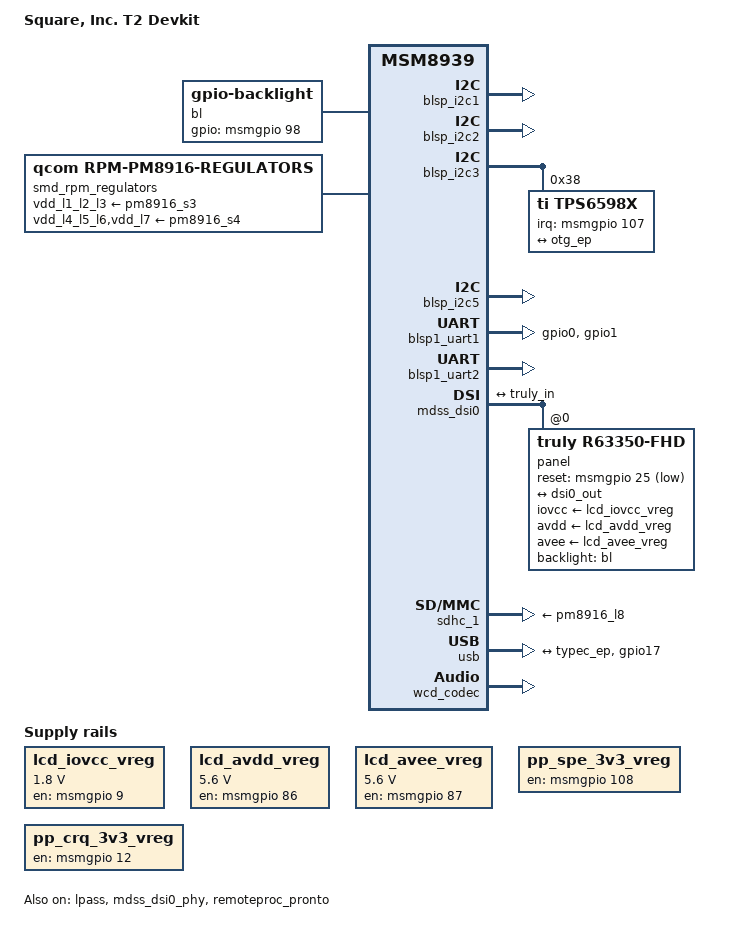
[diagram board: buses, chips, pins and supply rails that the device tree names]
// SPDX-License-Identifier: GPL-2.0
/*
 * Copyright (c) 2015, The Linux Foundation. All rights reserved.
 * Copyright (c) 2022, Linaro Ltd.
 *
 */

/dts-v1/;

#include "msm8939.dtsi"
#include "pm8916.dtsi"
#include <dt-bindings/gpio/gpio.h>
#include <dt-bindings/pinctrl/qcom,pmic-gpio.h>
#include <dt-bindings/sound/apq8016-lpass.h>

/ {
	model = "Square, Inc. T2 Devkit";
	compatible = "square,apq8039-t2", "qcom,msm8939";
	qcom,board-id = <0x53 0x54>;

	aliases {
		serial0 = &blsp1_uart1;
		serial1 = &blsp1_uart2;
	};

	bl: backlight {
		compatible = "gpio-backlight";
		pinctrl-names = "default";
		pinctrl-0 = <&pinctrl_backlight>;
		gpios = <&msmgpio 98 GPIO_ACTIVE_HIGH>;
	};

	chosen {
		stdout-path = "serial1:115200n8";
	};

	lcd_iovcc_vreg: lcd-iovcc-regulator {
		compatible = "regulator-fixed";
		regulator-name = "lcd_iovcc";
		regulator-min-microvolt = <1800000>;
		regulator-max-microvolt = <1800000>;
		pinctrl-names = "default";
		pinctrl-0 = <&pinctrl_lcd_iovcc>;
		gpios = <&msmgpio 9 GPIO_ACTIVE_HIGH>;
		startup-delay-us = <300>;
		enable-active-high;
	};

	lcd_avdd_vreg: lcd-avdd-regulator {
		compatible = "regulator-fixed";
		regulator-name = "lcd_avdd";
		regulator-min-microvolt = <5600000>;
		regulator-max-microvolt = <5600000>;
		pinctrl-names = "default";
		pinctrl-0 = <&pinctrl_lcd_avdd>;
		gpios = <&msmgpio 86 GPIO_ACTIVE_HIGH>;
		startup-delay-us = <300>;
		enable-active-high;
	};

	lcd_avee_vreg: lcd-avee-regulator {
		compatible = "regulator-fixed";
		regulator-name = "lcd_avee";
		regulator-min-microvolt = <5600000>;
		regulator-max-microvolt = <5600000>;
		pinctrl-names = "default";
		pinctrl-0 = <&pinctrl_lcd_avee>;
		gpios = <&msmgpio 87 GPIO_ACTIVE_HIGH>;
		startup-delay-us = <300>;
		enable-active-high;
	};

	pp_spe_3v3_vreg: pp-spe-3v3-regulator {
		compatible = "regulator-fixed";
		pinctrl-names = "default";
		pinctrl-0 = <&msmgpio_spe_reg>;
		regulator-name = "pp_spe_3v3";
		gpios = <&msmgpio 108 GPIO_ACTIVE_HIGH>;
		startup-delay-us = <0>;
		enable-active-high;
	};

	pp_crq_3v3_vreg: pp-crq-3v3-regulator {
		compatible = "regulator-fixed";
		pinctrl-names = "default";
		pinctrl-0 = <&msmgpio_crq_reg>;
		regulator-name = "pp_crq_3v3";
		gpios = <&msmgpio 12 GPIO_ACTIVE_HIGH>;
		startup-delay-us = <0>;
		enable-active-high;
	};
};

&blsp_dma {
	status = "okay";
};

&blsp_i2c1 {
	status = "okay";
};

&blsp_i2c2 {
	status = "okay";
};

&blsp_i2c3 {
	status = "okay";
	tps6598x: tps6598x@38 {
		compatible = "ti,tps6598x";
		reg = <0x38>;

		interrupt-parent = <&msmgpio>;
		interrupts = <107 IRQ_TYPE_LEVEL_LOW>;
		interrupt-names = "irq";

		pinctrl-names = "default";
		pinctrl-0 = <&typec_pins>;

		typec_con: connector {
			compatible = "usb-c-connector";
			label = "USB-C";
			port {
				typec_ep: endpoint {
					remote-endpoint = <&otg_ep>;
				};
			};
		};
	};
};

&blsp_i2c5 {
	status = "okay";
};

&blsp1_uart1 {
	pinctrl-names = "default", "sleep";
	pinctrl-0 = <&blsp1_uart1_default>;
	pinctrl-1 = <&blsp1_uart1_sleep>;
	status = "okay";
};

&blsp1_uart2 {
	pinctrl-names = "default", "sleep";
	pinctrl-0 = <&blsp1_uart2_default>;
	pinctrl-1 = <&blsp1_uart2_sleep>;
	status = "okay";
};

&lpass {
	status = "okay";
};

&mdss_dsi0 {
	#address-cells = <1>;
	#size-cells = <0>;
	vdda-supply = <&pm8916_l2>;
	vddio-supply = <&pm8916_l6>;
	status = "okay";

	ports {
		port@1 {
			endpoint {
				remote-endpoint = <&truly_in>;
				data-lanes = <0 1 2 3>;
			};
		};
	};

	panel@0 {
		compatible = "truly,r63350-fhd";
		reg = <0>;
		pinctrl-names = "default";
		pinctrl-0 = <&pinctrl_panel>;
		iovcc-supply = <&lcd_iovcc_vreg>;
		avdd-supply = <&lcd_avdd_vreg>;
		avee-supply = <&lcd_avee_vreg>;
		reset-gpios = <&msmgpio 25 GPIO_ACTIVE_LOW>;
		backlight = <&bl>;

		ports {
			#address-cells = <1>;
			#size-cells = <0>;

			port@0 {
				reg = <0>;
				truly_in: endpoint {
					remote-endpoint = <&dsi0_out>;
				};
			};
		};
	};
};

&mdss_dsi0_phy {
	vddio-supply = <&pm8916_l6>;
	status = "okay";
};

/*
 * Line names are taken from the schematic of T2, Ver X03.
 * July 14, 2018. Page 4 in particular.
 */

&msmgpio {
	gpio-line-names =
		"APQ_UART1_TX",		/* GPIO_0 */
		"APQ_UART1_RX",
		"APQ_I2C1_SDA",
		"APQ_I2C1_SCL",
		"APQ_UART2_TX_1V8",
		"APQ_UART2_RX_1V8",
		"APQ_I2C2_SDA",
		"APQ_I2C2_SCL",
		"NC",
		"APQ_LCD_IOVCC_EN",
		"APQ_I2C3_SDA",		/* GPIO_10 */
		"APQ_I2C3_SCL",
		"TOUCH_RST_1V8_L",
		"NC",
		"APQ_I2C4_SDA",
		"APQ_I2C4_SCL",
		"APQ_ID5",
		"USB_DISCONNECT",
		"APQ_I2C5_SDA",
		"APQ_I2C5_SCL",
		"APQ_USBC_SPI_MOSI",	/* GPIO_20 */
		"APQ_USBC_SPI_MISO",
		"APQ_USBC_SPI_SS_L",
		"APQ_USBC_SPI_CLK",
		"APQ_LCD_TE0",
		"APQ_LCD_RST_L",
		"NC",
		"NC",
		"ACCELEROMETER_INT1",
		"APQ_CAM_I2C0_SDA",
		"APQ_CAM_I2C0_SCL",	/* GPIO_30 */
		"ACCELEROMETER_INT2",
		"NC",
		"NC",
		"NC",
		"APQ_K21_RST_1V8_L",
		"NC",
		"APQ_EDL_1V8",
		"TP145",
		"BT_SSBI",
		"NC",			/* GPIO_40 */
		"NC",
		"NC",
		"NC",
		"NC",
		"NC",
		"NC",
		"BT_CTRL",
		"BT_DAT",
		"PWR_GPIO_IN",
		"PWR_GPIO_OUT",		/* GPIO_50 */
		"CARD_DET_MLB_L",
		"HALL_SENSOR",
		"TP63",
		"TP64",
		"TP65",
		"NC",
		"NC",
		"NC",
		"NC",
		"NC",			/* GPIO_60 */
		"NC",
		"APQ_K21_GPIO0_1V8",
		"CDC_PDM_CLK",
		"CDC_PDM_SYNC",
		"CDC_PDM_TX",
		"CDC_PDM_RX0",
		"CDC_PDM_RX1",
		"CDC_PDM_RX2",
		"APQ_K21_GPIO1_1V8",
		"NC",			/* GPIO_70 */
		"APQ_HUB_SEL_1V8",
		"APQ_K21_GPIO2_1V8",
		"APQ_K21_GPIO3_1V8",
		"APQ_ID0",
		"APQ_ID1",
		"APQ_ID2",
		"APQ_ID3",
		"APQ_ID4",
		"APQ_HUB_SUSP_IND",
		"BOOT_CONFIG_0",	/* GPIO_80 */
		"BOOT_CONFIG_1",
		"BOOT_CONFIG_2",
		"BOOT_CONFIG_3",
		"NC",
		"NC",
		"APQ_LCD_AVDD_EN",
		"APQ_LCD_AVEE_EN",
		"TP70",
		"NC",
		"APQ_DEBUG0",		/* GPIO_90 */
		"APQ_DEBUG1",
		"APQ_DEBUG2",
		"APQ_DEBUG3",
		"TP165",
		"NC",
		"APQ_LNA_PWR_EN",
		"NC",
		"APQ_LCD_BL_EN",
		"NC",
		"APQ_LCD_ID0",		/* GPIO_100 */
		"APQ_LCD_ID1",
		"USBC_GPIO5_1V8",
		"NC",
		"NC",
		"NC",
		"APQ_HUB_RST_1V8_L",
		"USBC_I2C_IRQ_1V8_L",
		"SPE_PWR_EN",
		"NC",
		"APQ_USB_ID",		/* GPIO_110 */
		"APQ_EXT_BUCK_VSEL",
		"APQ_USB_ID_OUT",
		"NC",
		"PRNT_RST_L",
		"APQ_CRQ_I2C_RDY_1V8",
		"TYPEC_RST_1V8_H",
		"CHG_BACKPWR_EN",
		"CHG_PROCHOT_L",
		"NC",
		"USBC_GPIO7_1V8",	/* GPIO_120 */
		"NC";

	blsp1_uart1_default: blsp1-uart1-default {
		pins = "gpio0", "gpio1";
		function = "blsp_uart1";

		drive-strength = <16>;
		bias-disable;
	};

	blsp1_uart1_sleep: blsp1-uart1-sleep {
		pins = "gpio0", "gpio1";
		function = "gpio";

		drive-strength = <2>;
		bias-pull-down;
	};

	pinctrl_lcd_iovcc: lcd-iovcc {
		pins = "gpio9";
		function = "gpio";
	};

	pinctrl_lcd_avdd: lcd-avdd {
		pins = "gpio86";
		function = "gpio";
	};

	pinctrl_lcd_avee: lcd-avee {
		pins = "gpio87";
		function = "gpio";
	};

	pinctrl_backlight: backlight {
		pins = "gpio98";
		function = "gpio";
	};

	pinctrl_panel: panel {
		pins = "gpio25";
		function = "gpio";
	};

	msmgpio_spe_reg: msmgpio-spe-reg {
		pins = "gpio108";
		function = "gpio";
		output-high;
	};

	sq_spe_enable: sq-spe-enable {
		pins = "gpio35";
		function = "gpio";
		output-low;
	};

	msmgpio_crq_reg: msmgpio-crq-reg {
		function = "gpio";
		pins = "gpio12";
		output-high;
	};

	typec_pins: typec-pins {
		function = "gpio";
		pins = "gpio107";
		bias-pull-up;
		input-enable;
	};

	pinctrl_otg_default: otg-default {
		function = "gpio";
		pins = "gpio17";
		output-high;
	};

	pinctrl_otg_host: otg-host {
		function = "gpio";
		pins = "gpio17";
		output-low;
	};

	pinctrl_otg_device: otg-device {
		function = "gpio";
		pins = "gpio17";
		output-low;
	};

	ext_buck_vsel: ext-buck-vsel {
		label = "ext-buck-vsel";
		function = "gpio";
		pins = "gpio111";
		drive-strength = <2>;
	};
};

&pm8916_gpios {
	gpio-line-names =
		"PM_GPIO1",     /* WIFI_GPIO1_PRE */
		"PM_GPIO2",     /* WIFI_GPIO2_PRE */
		"PM_GPIO3",
		"PM_GPIO4";
};

&remoteproc_pronto {
	pinctrl-names = "default";
	pinctrl-0 = <&wcnss_pin_a>;
	status = "okay";

	iris {
		compatible = "qcom,wcn3680";
	};
};

&rpm_requests {
	smd_rpm_regulators: pm8916-regulators {
		compatible = "qcom,rpm-pm8916-regulators";
		vdd_l1_l2_l3-supply = <&pm8916_s3>;
		vdd_l4_l5_l6-supply = <&pm8916_s4>;
		vdd_l7-supply = <&pm8916_s4>;

		pm8916_s3: s3 {
			regulator-min-microvolt = <1200000>;
			regulator-max-microvolt = <1300000>;
		};

		pm8916_s4: s4 {
			regulator-min-microvolt = <1800000>;
			regulator-max-microvolt = <2100000>;
		};

		/* l1 is fixed to 1225000, but not connected in schematic */
		pm8916_l2: l2 {
			regulator-min-microvolt = <1200000>;
			regulator-max-microvolt = <1200000>;
		};

		pm8916_l4: l4 {
			regulator-min-microvolt = <2050000>;
			regulator-max-microvolt = <2050000>;
		};

		pm8916_l5: l5 {
			regulator-min-microvolt = <1800000>;
			regulator-max-microvolt = <1800000>;
		};

		pm8916_l6: l6 {
			regulator-min-microvolt = <1800000>;
			regulator-max-microvolt = <1800000>;
		};

		pm8916_l7: l7 {
			regulator-min-microvolt = <1800000>;
			regulator-max-microvolt = <1800000>;
		};

		pm8916_l8: l8 {
			regulator-min-microvolt = <2850000>;
			regulator-max-microvolt = <2900000>;
		};

		pm8916_l9: l9 {
			regulator-min-microvolt = <3300000>;
			regulator-max-microvolt = <3300000>;
		};

		pm8916_l10: l10 {
			regulator-min-microvolt = <3300000>;
			regulator-max-microvolt = <3300000>;
		};

		pm8916_l11: l11 {
			regulator-min-microvolt = <1800000>;
			regulator-max-microvolt = <2950000>;
		};

		pm8916_l12: l12 {
			regulator-min-microvolt = <1800000>;
			regulator-max-microvolt = <2950000>;
		};

		pm8916_l13: l13 {
			regulator-min-microvolt = <3075000>;
			regulator-max-microvolt = <3075000>;
		};

		pm8916_l14: l14 {
			regulator-min-microvolt = <1800000>;
			regulator-max-microvolt = <3300000>;
		};

		pm8916_l15: l15 {
			regulator-min-microvolt = <1800000>;
			regulator-max-microvolt = <3300000>;
		};

		pm8916_l16: l16 {
			regulator-min-microvolt = <1800000>;
			regulator-max-microvolt = <3300000>;
		};

		pm8916_l17: l17 {
			regulator-min-microvolt = <2850000>;
			regulator-max-microvolt = <2850000>;
		};

		pm8916_l18: l18 {
			regulator-min-microvolt = <2700000>;
			regulator-max-microvolt = <2700000>;
		};
	};
};

&sdhc_1 {
	vmmc-supply = <&pm8916_l8>;
	vqmmc-supply = <&pm8916_l5>;

	pinctrl-names = "default", "sleep";
	pinctrl-0 = <&sdc1_clk_on &sdc1_cmd_on &sdc1_data_on>;
	pinctrl-1 = <&sdc1_clk_off &sdc1_cmd_off &sdc1_data_off>;
	status = "okay";
};

&sound {
	status = "okay";
	pinctrl-0 = <&cdc_pdm_lines_act>;
	pinctrl-1 = <&cdc_pdm_lines_sus>;
	pinctrl-names = "default", "sleep";
	model = "apq8039-square-sndcard";
	audio-routing = "AMIC2", "MIC BIAS Internal2";

	internal-codec-playback-dai-link {
		link-name = "WCD";
		cpu {
			sound-dai = <&lpass MI2S_PRIMARY>;
		};
		codec {
			sound-dai = <&lpass_codec 0>, <&wcd_codec 0>;
		};
	};

	internal-codec-capture-dai-link {
		link-name = "WCD-Capture";
		cpu {
			sound-dai = <&lpass MI2S_TERTIARY>;
		};
		codec {
			sound-dai = <&lpass_codec 1>, <&wcd_codec 1>;
		};
	};
};

&usb {
	status = "okay";
	usb-role-switch;

	pinctrl-names = "default", "host", "device";
	pinctrl-0 = <&pinctrl_otg_default>;
	pinctrl-1 = <&pinctrl_otg_host>;
	pinctrl-2 = <&pinctrl_otg_device>;
	pin-switch-delay-us = <100000>;

	ulpi {
		usb_hs_phy: phy {
			qcom,enable-vbus-pullup;
			v1p8-supply = <&pm8916_l7>;
			v3p3-supply = <&pm8916_l13>;
		};
	};
	port {
		otg_ep: endpoint {
			remote-endpoint = <&typec_ep>;
		};
	};
};

&wcd_codec {
	status = "okay";
	qcom,hphl-jack-type-normally-open;
	qcom,mbhc-vthreshold-low = <75 150 237 450 500>;
	qcom,mbhc-vthreshold-high = <75 150 237 450 500>;
};
